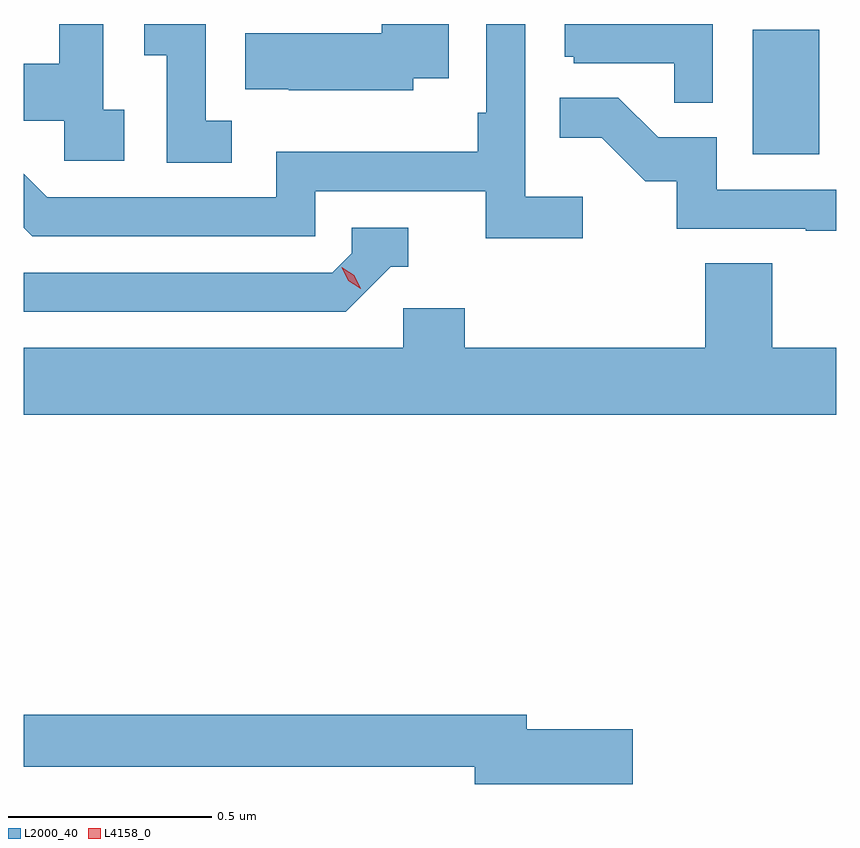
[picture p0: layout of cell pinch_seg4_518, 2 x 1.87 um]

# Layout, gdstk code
import gdstk
lib = gdstk.Library(unit=1e-6, precision=1e-09)
def R(c, l, rs):  # rectangles x0, y0, x1, y1
    for r in rs: c.add(gdstk.rectangle(r[:2], r[2:], *l))
def P(c, l, *ps):  # polygons
    for p in ps: c.add(gdstk.Polygon(p, *l))
L2000_40 = (2000, 40)
L4158_0 = (4158, 0)

pinch_seg4_518 = lib.new_cell('pinch_seg4_518')
R(pinch_seg4_518, L2000_40, [(991.202,762.828,991.366,763.135)])
P(pinch_seg4_518, L2000_40, [(989.92,762.911),(989.856,762.911),(989.856,763.149),(989.705,763.149),(989.705,763.072),(989.76,763.072),(989.76,762.808),(989.92,762.808)],
  [(991.104,763.149),(990.74,763.149),(990.74,763.068),(990.762,763.068),(990.762,763.053),(991.009,763.053),(991.009,762.955),(991.104,762.955)],
  [(990.367,763.016),(990.454,763.016),(990.454,763.149),(990.289,763.149),(990.289,763.126),(989.953,763.126),(989.953,762.989),(990.061,762.989),(990.061,762.986),(990.367,762.986)],
  [(989.656,762.938),(989.604,762.938),(989.604,763.149),(989.496,763.149),(989.496,763.051),(989.408,763.051),(989.408,762.911),(989.508,762.911),(989.508,762.813),(989.656,762.813)],
  [(990.784,762.724),(990.642,762.724),(990.642,763.149),(990.546,763.149),(990.546,762.931),(990.526,762.931),(990.526,762.835),(990.03,762.835),(990.03,762.723),(989.466,762.723),(989.408,762.781),(989.408,762.648),(989.429,762.627),(990.126,762.627),(990.126,762.738),(990.545,762.738),(990.545,762.622),(990.784,762.622)],
  [(991.408,762.741),(991.113,762.741),(991.113,762.87),(990.969,762.87),(990.871,762.968),(990.727,762.968),(990.727,762.869),(990.831,762.869),(990.938,762.762),(991.015,762.762),(991.015,762.645),(991.333,762.645),(991.333,762.64),(991.408,762.64)],
  [(990.312,762.552),(990.355,762.552),(990.355,762.648),(990.216,762.648),(990.216,762.585),(990.168,762.537),(989.408,762.537),(989.408,762.441),(990.201,762.441)],
  [(991.408,762.352),(991.25,762.352),(991.25,762.56),(991.085,762.56),(991.085,762.352),(990.494,762.352),(990.494,762.45),(990.342,762.45),(990.342,762.352),(989.408,762.352),(989.408,762.188),(991.408,762.188)],
  [(990.907,761.414),(990.646,761.414),(990.646,761.45),(989.408,761.45),(989.408,761.322),(990.518,761.322),(990.518,761.279),(990.907,761.279)])
P(pinch_seg4_518, L4158_0, [(990.238,762.498),(990.207,762.517),(990.191,762.55),(990.191,762.55),(990.191,762.55),(990.222,762.531),(990.238,762.498),(990.238,762.498)])

lib.write_gds('pinch_seg4_518.gds')
